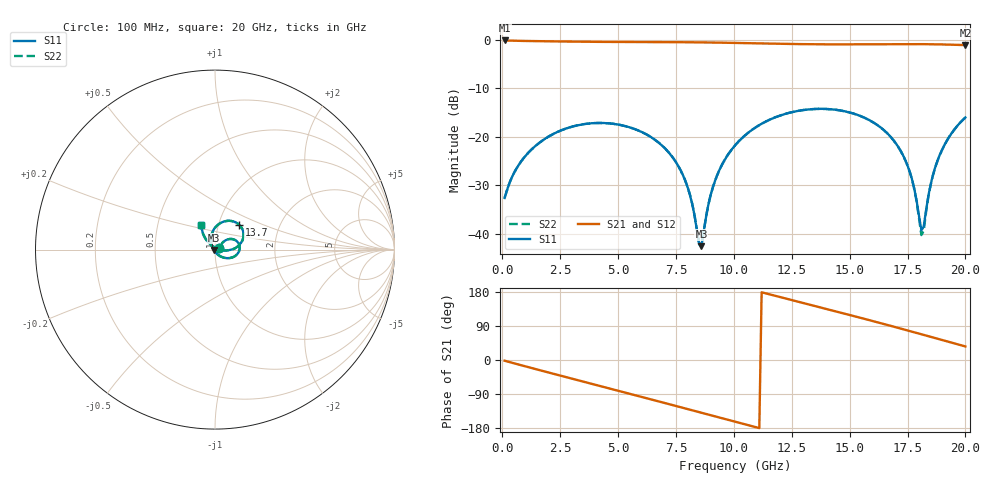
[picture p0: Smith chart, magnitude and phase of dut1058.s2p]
! Touchstone file exported from HFSS 2026.1.0
!  File:  C:/ffzhzh/LocalFiles/Ansys_Project_Files/temp_train_TSV_RDL_1058_1783297770_38820.aedt
!  Generated:  08:38:46 AM Jul  6, 2026
!  Design:  TSV_RDL
!  Project:  temp_train_TSV_RDL_1058_1783297770_38820
! Variables:
!  h_bsmrdl = 2.67um
!  h_ox = 20um
!  h_rdl = 5um
!  h_sub = 99.29um
!  h_tmrdl = 5.39um
!  h_tsv = 99.29um
!  h_via = 3um
!  l_bsmrdl = 657.4um
!  l_sub = 4986.77um
!  l_tmrdl = 622.39um
!  m_sub = 200um
!  pitch = 30.62um
!  r_tsv = 11.12um
!  s_tmrdl = 10um
!  w_bsmrdl = 26.52um
!  w_sub = 500um
!  w_tmrdl = 15.15um
!  x_tsv_center1 = 629.965um
!  x_tsv_center2 = 1313.885um
!  x_tsv_center3 = 1951.425um
!  x_tsv_center4 = 2635.345um
!  x_tsv_center5 = 3272.885um
!  x_tsv_center6 = 3956.805um
# GHz S MA R 50.000000
! Terminal data exported
! Port[1] = TM_RDL1_1_T1
! Port[2] = TM_RDL5_1_T1
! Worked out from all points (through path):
!   200 points, 100 MHz to 20 GHz, reference 50 ohm
!   highest |S21| = -0.19 dB at 100 MHz (marker M1); lowest = -1.2 dB at 20 GHz (marker M2)
!   group delay of S21, straight-line fit = 44.7 ps
!   lowest |S11| = -42.6 dB at 8.6 GHz (marker M3), VSWR 1.01, Z = 49.3 - j0.184 ohm
!   |S11| at or under -10 dB: start of sweep to end of sweep
!   |S22| runs from -42.3 to -14.3 dB; largest |S21 - S12| = 1.9e-14
!   S11 on the Smith chart (normalised r, x): 100 MHz: 1.05, +0.02; 13.7 GHz: 1.25, +0.36; 20 GHz: 0.83, +0.23
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0.1  0.02336 17.9  0.978 -1.8  0.978 -1.8  0.02336 17.9
! Gamma 0 0 0 0
! Port Impedance 50 0 50 0
0.6  0.0464 41.0  0.9703 -10.3  0.9703 -10.3  0.0464 41.0
1.3  0.07516 41.7  0.9635 -21.7  0.9635 -21.7  0.07516 41.7
3.5  0.1341 17.2  0.9488 -57.1  0.9488 -57.1  0.1341 17.1
5.2  0.1302 -8.0  0.943 -84.3  0.943 -84.3  0.1302 -8.1
6.8  0.08481 -34.2  0.9407 -110.0  0.9407 -110.0  0.0849 -34.4
7.9  0.03521 -58.2  0.9377 -127.9  0.9377 -127.9  0.03534 -58.7
8.2  0.02032 -71.8  0.9365 -132.8  0.9365 -132.8  0.0205 -72.4
8.5  0.007737 -122.4  0.9349 -137.6  0.9349 -137.6  0.008029 -122.6
8.6  0.007441 -165.5  0.9343 -139.3  0.9343 -139.3  0.007683 -164.3
8.9  0.01993 138.4  0.9324 -144.2  0.9324 -144.2  0.01994 139.2
9.2  0.03579 124.3  0.9303 -149.1  0.9303 -149.1  0.03576 124.7
10.1  0.08375 103.6  0.9224 -163.7  0.9224 -163.7  0.08368 103.7
11.5  0.1476 79.8  0.9083 173.9  0.9083 173.9  0.1476 79.8
13.4  0.192 50.3  0.894 144.0  0.894 144.0  0.1919 50.2
13.7  0.1932 45.8  0.8929 139.3  0.8929 139.3  0.1931 45.7
15.4  0.1654 20.5  0.893 112.5  0.893 112.5  0.1653 20.2
16.7  0.1038 2.3  0.8968 91.4  0.8968 91.4  0.1037 1.8
17.6  0.0432 -3.8  0.8976 76.4  0.8976 76.4  0.04296 -5.3
18.1  0.01085 49.5  0.8963 67.9  0.8963 67.9  0.00968 47.5
18.8  0.05695 131.9  0.8916 56.1  0.8916 56.1  0.05667 133.2
20  0.1576 119.2  0.8757 35.8  0.8757 35.8  0.1574 119.8
